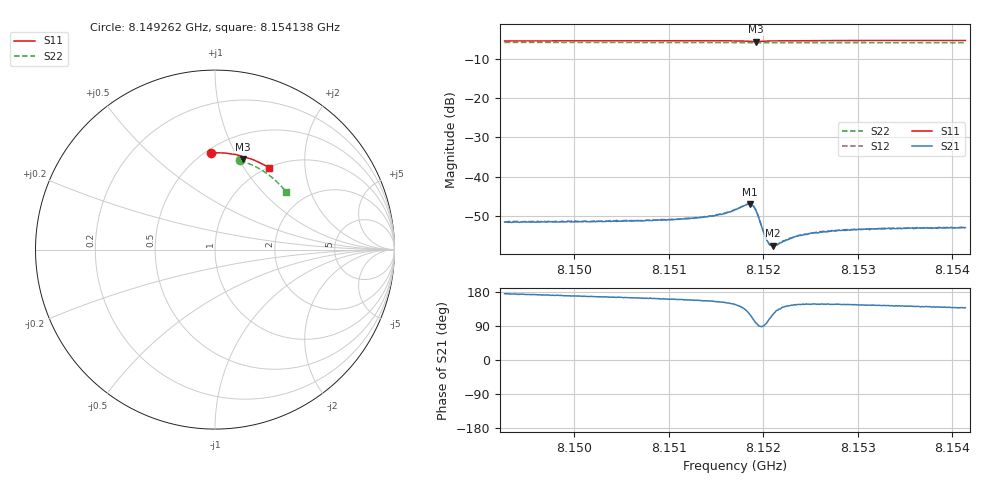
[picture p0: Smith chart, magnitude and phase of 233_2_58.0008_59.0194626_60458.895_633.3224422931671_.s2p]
#  HZ  S  RI  R  50.00
! Rohde & Schwarz Vector Network Analyzer
! Rohde-Schwarz,ZNB20-2Port,1311601062101988,3.16
! Created: UTC 3/21/2024, 1:00:45 AM
! freq[Hz]  re:S11  im:S11  re:S21  im:S21  re:S12  im:S12  re:S22  im:S22
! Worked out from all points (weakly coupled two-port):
!   401 points, 8.149262 GHz to 8.154138 GHz, reference 50 ohm
!   highest |S21| = -46.99 dB at 8.151858 GHz (marker M1); lowest = -57.6 dB at 8.152102 GHz (marker M2)
!   lowest |S11| = -5.5 dB at 8.151919 GHz (marker M3), VSWR 3.24, Z = 37.2 + j52.1 ohm
!   |S11| at or under -10 dB: nowhere
!   |S22| runs from -5.9 to -5.7 dB; largest |S21 - S12| = 0.00011
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8.1492616e9  -0.0215 0.5383  -0.00262 0.000225  -0.00261 0.000308  0.1398 0.4966
8.1500785e9  0.0357 0.539  -0.00259 0.000535  -0.00265 0.000583  0.1899 0.4788
8.1508953e9  0.0926 0.5335  -0.00265 0.000861  -0.00266 0.000942  0.2376 0.456
8.1512001e9  0.1141 0.5295  -0.00269 0.00107  -0.00273 0.00112  0.2547 0.4462
8.1514561e9  0.1324 0.5253  -0.00284 0.00131  -0.00283 0.00139  0.2685 0.4375
8.151578e9  0.1416 0.5226  -0.00297 0.00156  -0.003 0.00161  0.2751 0.4333
8.1517e9  0.151 0.5186  -0.00316 0.00208  -0.00314 0.00215  0.2818 0.4287
8.1518219e9  0.1589 0.51  -0.00282 0.00335  -0.00278 0.00341  0.288 0.424
8.1518585e9  0.1591 0.5065  -0.00222 0.00388  -0.00217 0.0039  0.2899 0.4227
8.151895e9  0.157 0.5044  -0.00124 0.00401  -0.00118 0.00406  0.2915 0.4212
8.1519194e9  0.1551 0.5045  -0.000537 0.00372  -0.000524 0.00375  0.2926 0.4204
8.1519438e9  0.1541 0.5063  -0.000108 0.00318  -5.62e-05 0.00322  0.2938 0.4196
8.1520048e9  0.1566 0.5111  -2.38e-05 0.00193  -3.77e-06 0.00195  0.2971 0.4175
8.1520413e9  0.1598 0.5127  -0.000266 0.00149  -0.00026 0.0015  0.2989 0.4162
8.1520779e9  0.1632 0.5136  -0.000508 0.00122  -0.000526 0.00124  0.301 0.4149
8.1521023e9  0.1654 0.5136  -0.000662 0.00114  -0.00064 0.00113  0.3022 0.4139
8.1521511e9  0.1697 0.5134  -0.000898 0.00103  -0.000911 0.000999  0.3047 0.412
8.1523096e9  0.1822 0.5108  -0.00135 0.000958  -0.00136 0.000976  0.3127 0.4057
8.1525168e9  0.197 0.5064  -0.00161 0.00102  -0.00157 0.00108  0.3229 0.3971
8.1528826e9  0.2215 0.4971  -0.00174 0.00115  -0.00175 0.00119  0.3404 0.3817
8.1533337e9  0.2503 0.4841  -0.00175 0.00132  -0.00176 0.00134  0.361 0.3615
8.1541383e9  0.299 0.457  -0.00166 0.0015  -0.00166 0.00154  0.3945 0.323
